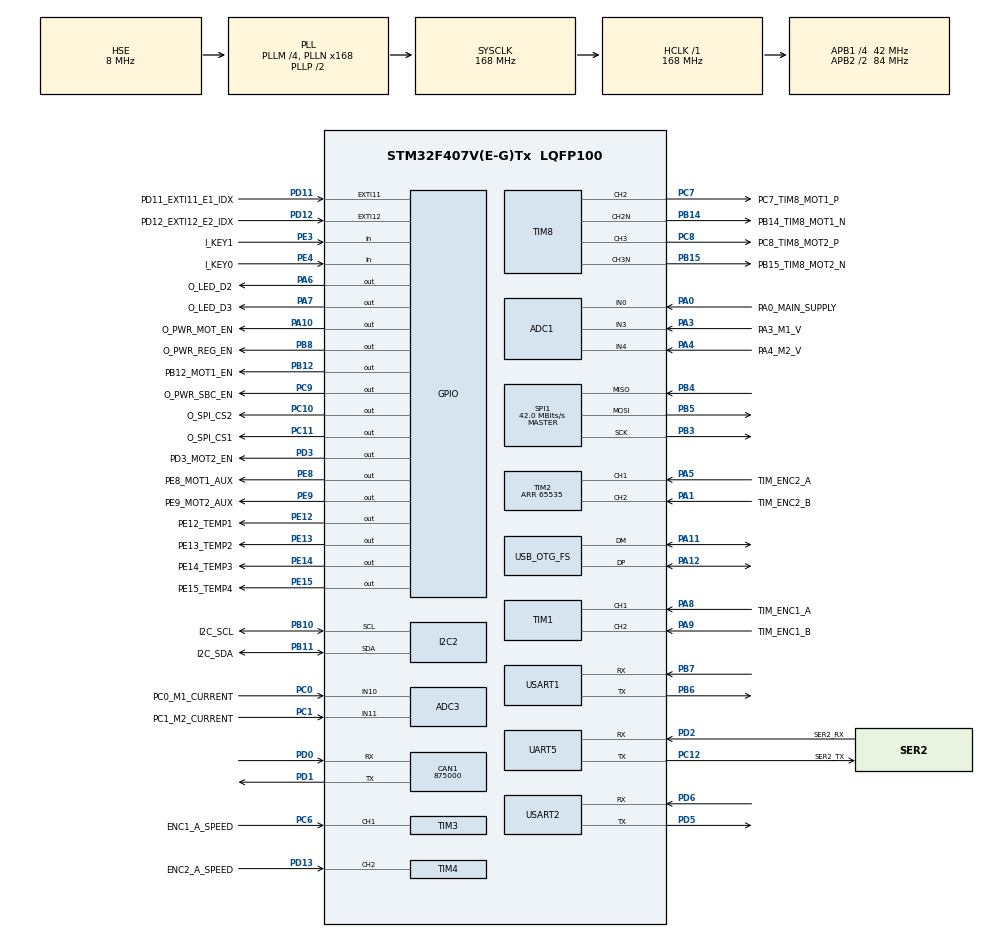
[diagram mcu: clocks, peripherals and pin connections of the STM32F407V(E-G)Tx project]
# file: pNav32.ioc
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ADC1.Channel-0\#ChannelRegularConversion=ADC_CHANNEL_0
ADC1.Channel-1\#ChannelRegularConversion=ADC_CHANNEL_3
ADC1.Channel-2\#ChannelRegularConversion=ADC_CHANNEL_4
ADC1.Channel-7\#ChannelRegularConversion=ADC_CHANNEL_TEMPSENSOR
ADC1.Channel-8\#ChannelRegularConversion=ADC_CHANNEL_VREFINT
ADC1.Channel-9\#ChannelRegularConversion=ADC_CHANNEL_VBAT
ADC1.ClockPrescaler=ADC_CLOCK_SYNC_PCLK_DIV8
ADC1.ContinuousConvMode=ENABLE
ADC1.DMAContinuousRequests=ENABLE
ADC1.EOCSelection=ADC_EOC_SEQ_CONV
ADC1.NbrOfConversion=6
ADC1.NbrOfConversionFlag=1
ADC1.Rank-0\#ChannelRegularConversion=1
ADC1.Rank-1\#ChannelRegularConversion=2
ADC1.Rank-2\#ChannelRegularConversion=3
ADC1.Rank-7\#ChannelRegularConversion=4
ADC1.Rank-8\#ChannelRegularConversion=5
ADC1.Rank-9\#ChannelRegularConversion=6
ADC1.SamplingTime-0\#ChannelRegularConversion=ADC_SAMPLETIME_15CYCLES
ADC1.SamplingTime-1\#ChannelRegularConversion=ADC_SAMPLETIME_15CYCLES
ADC1.SamplingTime-2\#ChannelRegularConversion=ADC_SAMPLETIME_15CYCLES
ADC1.SamplingTime-7\#ChannelRegularConversion=ADC_SAMPLETIME_15CYCLES
ADC1.SamplingTime-8\#ChannelRegularConversion=ADC_SAMPLETIME_15CYCLES
ADC1.SamplingTime-9\#ChannelRegularConversion=ADC_SAMPLETIME_15CYCLES
ADC1.master=1
ADC3.Channel-0\#ChannelRegularConversion=ADC_CHANNEL_10
ADC3.Channel-1\#ChannelRegularConversion=ADC_CHANNEL_11
ADC3.ClockPrescaler=ADC_CLOCK_SYNC_PCLK_DIV8
ADC3.ContinuousConvMode=ENABLE
ADC3.DMAContinuousRequests=ENABLE
ADC3.EOCSelection=ADC_EOC_SEQ_CONV
ADC3.ExternalTrigConv=ADC_SOFTWARE_START
ADC3.NbrOfConversion=2
ADC3.NbrOfConversionFlag=1
ADC3.Rank-0\#ChannelRegularConversion=1
ADC3.Rank-1\#ChannelRegularConversion=2
ADC3.SamplingTime-0\#ChannelRegularConversion=ADC_SAMPLETIME_3CYCLES
ADC3.SamplingTime-1\#ChannelRegularConversion=ADC_SAMPLETIME_3CYCLES
ADC3.ScanConvMode=ENABLE
CAN1.CalculateBaudRate=875000
CAN1.CalculateTimeBit=1142
CAN1.CalculateTimeQuantum=380.95238095238096
Dma.ADC1.3.Direction=DMA_PERIPH_TO_MEMORY
Dma.ADC1.3.FIFOMode=DMA_FIFOMODE_DISABLE
Dma.ADC1.3.Instance=DMA2_Stream4
Dma.ADC1.3.MemDataAlignment=DMA_MDATAALIGN_WORD
Dma.ADC1.3.MemInc=DMA_MINC_ENABLE
Dma.ADC1.3.Mode=DMA_CIRCULAR
Dma.ADC1.3.PeriphDataAlignment=DMA_PDATAALIGN_WORD
Dma.ADC1.3.PeriphInc=DMA_PINC_DISABLE
Dma.ADC1.3.Priority=DMA_PRIORITY_LOW
Dma.ADC3.0.Direction=DMA_PERIPH_TO_MEMORY
Dma.ADC3.0.FIFOMode=DMA_FIFOMODE_DISABLE
Dma.ADC3.0.Instance=DMA2_Stream0
Dma.ADC3.0.MemDataAlignment=DMA_MDATAALIGN_WORD
Dma.ADC3.0.MemInc=DMA_MINC_ENABLE
Dma.ADC3.0.Mode=DMA_CIRCULAR
Dma.ADC3.0.PeriphDataAlignment=DMA_PDATAALIGN_WORD
Dma.ADC3.0.PeriphInc=DMA_PINC_DISABLE
Dma.ADC3.0.Priority=DMA_PRIORITY_HIGH
Dma.Request0=ADC3
Dma.Request1=USART1_RX
Dma.Request2=USART1_TX
Dma.Request3=ADC1
Dma.USART1_RX.1.Direction=DMA_PERIPH_TO_MEMORY
Dma.USART1_RX.1.FIFOMode=DMA_FIFOMODE_DISABLE
Dma.USART1_RX.1.Instance=DMA2_Stream2
Dma.USART1_RX.1.MemDataAlignment=DMA_MDATAALIGN_BYTE
Dma.USART1_RX.1.MemInc=DMA_MINC_ENABLE
Dma.USART1_RX.1.Mode=DMA_CIRCULAR
Dma.USART1_RX.1.PeriphDataAlignment=DMA_PDATAALIGN_BYTE
Dma.USART1_RX.1.PeriphInc=DMA_PINC_DISABLE
Dma.USART1_RX.1.Priority=DMA_PRIORITY_VERY_HIGH
Dma.USART1_TX.2.Direction=DMA_MEMORY_TO_PERIPH
Dma.USART1_TX.2.FIFOMode=DMA_FIFOMODE_DISABLE
Dma.USART1_TX.2.Instance=DMA2_Stream7
Dma.USART1_TX.2.MemDataAlignment=DMA_MDATAALIGN_BYTE
Dma.USART1_TX.2.MemInc=DMA_MINC_ENABLE
Dma.USART1_TX.2.Mode=DMA_NORMAL
Dma.USART1_TX.2.PeriphDataAlignment=DMA_PDATAALIGN_BYTE
Dma.USART1_TX.2.PeriphInc=DMA_PINC_DISABLE
Dma.USART1_TX.2.Priority=DMA_PRIORITY_VERY_HIGH
FREERTOS.Tasks01=rosTaskLed,16,512,StartTaskLed,Default,NULL,Static,rosTaskLedBuffer,rosTaskLedControlBlock;rosTaskCom,24,5000,StartTaskCom,Default,NULL,Static,rosTaskComBuffer,rosTaskComControlBlock;rosTaskAnalog,8,256,StartTaskAnalog,Default,NULL,Static,rosTaskAnalogBuffer,rosTaskAnalogControlBlock
FREERTOS.Timers01=myTimer_1m,CallbackTimer_1m,osTimerPeriodic,Default,NULL,Dynamic,NULL
FREERTOS.configUSE_NEWLIB_REENTRANT=1
Mcu.Family=STM32F4
Mcu.Name=STM32F407V(E-G)Tx
Mcu.Package=LQFP100
NVIC.DMA2_Stream0_IRQn=true\:5\:0\:false\:false\:true\:true\:false\:true\:true
NVIC.DMA2_Stream2_IRQn=true\:5\:0\:false\:false\:true\:true\:false\:true\:true
NVIC.DMA2_Stream4_IRQn=true\:5\:0\:false\:false\:true\:true\:false\:true\:true
NVIC.DMA2_Stream7_IRQn=true\:5\:0\:false\:false\:true\:true\:false\:true\:true
NVIC.OTG_FS_IRQn=true\:5\:0\:false\:false\:true\:true\:false\:true\:true
NVIC.PriorityGroup=NVIC_PRIORITYGROUP_4
NVIC.TIM1_UP_TIM10_IRQn=true\:5\:0\:false\:false\:true\:false\:false\:true\:true
NVIC.TIM3_IRQn=true\:5\:0\:false\:false\:true\:true\:true\:true\:true
NVIC.TIM4_IRQn=true\:5\:0\:false\:false\:true\:true\:true\:true\:true
NVIC.TIM5_IRQn=true\:5\:0\:false\:false\:true\:true\:true\:true\:true
NVIC.TimeBase=TIM1_UP_TIM10_IRQn
NVIC.TimeBaseIP=TIM10
NVIC.USART1_IRQn=true\:5\:0\:false\:false\:true\:true\:true\:true\:true
PA0-WKUP.GPIO_Label=PA0_MAIN_SUPPLY
PA0-WKUP.Signal=ADCx_IN0
PA1.GPIO_Label=TIM_ENC2_B
PA1.GPIO_Speed=GPIO_SPEED_FREQ_VERY_HIGH
PA1.Signal=S_TIM2_CH2
PA10.GPIO_Label=O_PWR_MOT_EN
PA10.Signal=GPIO_Output
PA11.Mode=Device_Only
PA11.Signal=USB_OTG_FS_DM
PA12.Mode=Device_Only
PA12.Signal=USB_OTG_FS_DP
PA13.Mode=Serial_Wire
PA13.Signal=SYS_JTMS-SWDIO
PA14.Mode=Serial_Wire
PA14.Signal=SYS_JTCK-SWCLK
PA3.GPIO_Label=PA3_M1_V
PA3.Signal=ADCx_IN3
PA4.GPIO_Label=PA4_M2_V
PA4.Signal=ADCx_IN4
PA5.GPIO_Label=TIM_ENC2_A
PA5.GPIO_Speed=GPIO_SPEED_FREQ_VERY_HIGH
PA5.Signal=S_TIM2_CH1_ETR
PA6.GPIO_Label=O_LED_D2
PA6.Signal=GPIO_Output
PA7.GPIO_Label=O_LED_D3
PA7.Signal=GPIO_Output
PA8.GPIO_Label=TIM_ENC1_A
PA8.GPIO_Speed=GPIO_SPEED_FREQ_VERY_HIGH
PA8.Signal=S_TIM1_CH1
PA9.GPIO_Label=TIM_ENC1_B
PA9.GPIO_Speed=GPIO_SPEED_FREQ_VERY_HIGH
PA9.Signal=S_TIM1_CH2
PB0.GPIO_Label=TIM_FAN_PWM
PB0.Signal=S_TIM3_CH3
PB1.GPIO_Label=TIM_FAN_INDEX
PB1.GPIO_PuPd=GPIO_PULLUP
PB1.Signal=S_TIM3_CH4
PB10.GPIO_Label=I2C_SCL
PB10.Mode=I2C
PB10.Signal=I2C2_SCL
PB11.GPIO_Label=I2C_SDA
PB11.Mode=I2C
PB11.Signal=I2C2_SDA
PB12.GPIO_Label=PB12_MOT1_EN
PB12.Signal=GPIO_Output
PB14.GPIO_Label=PB14_TIM8_MOT1_N
PB14.Mode=PWM Generation2 CH2 CH2N
PB14.Signal=TIM8_CH2N
PB15.GPIO_Label=PB15_TIM8_MOT2_N
PB15.Mode=PWM Generation3 CH3 CH3N
PB15.Signal=TIM8_CH3N
PB3.Mode=Full_Duplex_Master
PB3.Signal=SPI1_SCK
PB4.Mode=Full_Duplex_Master
PB4.Signal=SPI1_MISO
PB5.Mode=Full_Duplex_Master
PB5.Signal=SPI1_MOSI
PB6.Mode=Asynchronous
PB6.Signal=USART1_TX
PB7.Mode=Asynchronous
PB7.Signal=USART1_RX
PB8.GPIO_Label=O_PWR_REG_EN
PB8.Signal=GPIO_Output
PB9.GPIO_Label=TIM_AUX2_PWM
PB9.Signal=S_TIM11_CH1
PC0.GPIO_Label=PC0_M1_CURRENT
PC0.Signal=ADCx_IN10
PC1.GPIO_Label=PC1_M2_CURRENT
PC1.Signal=ADCx_IN11
PC10.GPIO_Label=O_SPI_CS2
PC10.Signal=GPIO_Output
PC11.GPIO_Label=O_SPI_CS1
PC11.Signal=GPIO_Output
PC12.GPIO_Label=SER2_TX
PC12.Mode=Asynchronous
PC12.Signal=UART5_TX
PC6.GPIO_Label=ENC1_A_SPEED
PC6.GPIO_Speed=GPIO_SPEED_FREQ_VERY_HIGH
PC6.Signal=S_TIM3_CH1
PC7.GPIO_Label=PC7_TIM8_MOT1_P
PC7.Signal=S_TIM8_CH2
PC8.GPIO_Label=PC8_TIM8_MOT2_P
PC8.Signal=S_TIM8_CH3
PC9.GPIO_Label=O_PWR_SBC_EN
PC9.Signal=GPIO_Output
PD0.Mode=CAN_Activate
PD0.Signal=CAN1_RX
PD1.Mode=CAN_Activate
PD1.Signal=CAN1_TX
PD11.GPIO_Label=PD11_EXTI11_E1_IDX
PD11.Signal=GPXTI11
PD12.GPIO_Label=PD12_EXTI12_E2_IDX
PD12.Signal=GPXTI12
PD13.GPIO_Label=ENC2_A_SPEED
PD13.GPIO_Speed=GPIO_SPEED_FREQ_VERY_HIGH
PD13.Signal=S_TIM4_CH2
PD2.GPIO_Label=SER2_RX
PD2.Mode=Asynchronous
PD2.Signal=UART5_RX
PD3.GPIO_Label=PD3_MOT2_EN
PD3.Signal=GPIO_Output
PD5.Mode=Asynchronous
PD5.Signal=USART2_TX
PD6.Mode=Asynchronous
PD6.Signal=USART2_RX
PE12.GPIO_Label=PE12_TEMP1
PE12.Signal=GPIO_Output
PE13.GPIO_Label=PE13_TEMP2
PE13.Signal=GPIO_Output
PE14.GPIO_Label=PE14_TEMP3
PE14.Signal=GPIO_Output
PE15.GPIO_Label=PE15_TEMP4
PE15.Signal=GPIO_Output
PE3.GPIO_Label=I_KEY1
PE3.GPIO_PuPd=GPIO_PULLUP
PE3.Signal=GPIO_Input
PE4.GPIO_Label=I_KEY0
PE4.GPIO_PuPd=GPIO_PULLUP
PE4.Signal=GPIO_Input
PE8.GPIO_Label=PE8_MOT1_AUX
PE8.Signal=GPIO_Output
PE9.GPIO_Label=PE9_MOT2_AUX
PE9.Signal=GPIO_Output
PH0-OSC_IN.Mode=HSE-External-Oscillator
PH0-OSC_IN.Signal=RCC_OSC_IN
PH1-OSC_OUT.Mode=HSE-External-Oscillator
PH1-OSC_OUT.Signal=RCC_OSC_OUT
ProjectManager.HeapSize=0x200
ProjectManager.StackSize=0x400
ProjectManager.TargetToolchain=STM32CubeIDE
RCC.48MHZClocksFreq_Value=48000000
RCC.AHBFreq_Value=168000000
RCC.APB1CLKDivider=RCC_HCLK_DIV4
RCC.APB1Freq_Value=42000000
RCC.APB1TimFreq_Value=84000000
RCC.APB2CLKDivider=RCC_HCLK_DIV2
RCC.APB2Freq_Value=84000000
RCC.APB2TimFreq_Value=168000000
RCC.CortexFreq_Value=168000000
RCC.HCLKFreq_Value=168000000
RCC.HSE_VALUE=8000000
RCC.HSI_VALUE=16000000
RCC.LSE_VALUE=32768
RCC.PLLM=4
RCC.PLLN=168
RCC.PLLQ=7
RCC.SYSCLKFreq_VALUE=168000000
RCC.SYSCLKSource=RCC_SYSCLKSOURCE_PLLCLK
RCC.VCOOutputFreq_Value=336000000
SH.ADCx_IN0.0=ADC1_IN0,IN0
SH.ADCx_IN10.0=ADC3_IN10,IN10
SH.ADCx_IN11.0=ADC3_IN11,IN11
SH.ADCx_IN3.0=ADC1_IN3,IN3
SH.ADCx_IN4.0=ADC1_IN4,IN4
SH.S_TIM11_CH1.0=TIM11_CH1
SH.S_TIM1_CH1.0=TIM1_CH1,Encoder_Interface
SH.S_TIM1_CH2.0=TIM1_CH2,Encoder_Interface
SH.S_TIM2_CH1_ETR.0=TIM2_CH1,Encoder_Interface
SH.S_TIM2_CH2.0=TIM2_CH2,Encoder_Interface
SH.S_TIM3_CH1.0=TIM3_CH1,Input_Capture1_from_TI1
SH.S_TIM3_CH3.0=TIM3_CH3
SH.S_TIM3_CH4.0=TIM3_CH4
SH.S_TIM4_CH2.0=TIM4_CH2,Input_Capture2_from_TI2
SH.S_TIM8_CH2.0=TIM8_CH2,PWM Generation2 CH2 CH2N
SH.S_TIM8_CH3.0=TIM8_CH3,PWM Generation3 CH3 CH3N
SPI1.CalculateBaudRate=42.0 MBits/s
SPI1.Direction=SPI_DIRECTION_2LINES
SPI1.Mode=SPI_MODE_MASTER
SPI1.VirtualType=VM_MASTER
TIM1.EncoderMode=TIM_ENCODERMODE_TI12
TIM1.IC1Filter=2
TIM1.IC2Filter=2
TIM2.EncoderMode=TIM_ENCODERMODE_TI12
TIM2.IC1Filter=2
TIM2.IC2Filter=2
TIM2.Period=65535
TIM3.Channel-Input_Capture1_from_TI1=TIM_CHANNEL_1
TIM3.ICFilter_CH1=2
TIM4.Channel-Input_Capture2_from_TI2=TIM_CHANNEL_2
TIM4.ICFilter_CH2=2
TIM5.AutoReloadPreload=TIM_AUTORELOAD_PRELOAD_ENABLE
TIM5.Period=999
TIM5.Prescaler=83
TIM8.Channel-PWM\ Generation2\ CH2\ CH2N=TIM_CHANNEL_2
TIM8.Channel-PWM\ Generation3\ CH3\ CH3N=TIM_CHANNEL_3
TIM8.DeadTime=2
TIM8.Pulse-PWM\ Generation2\ CH2\ CH2N=512
TIM8.Pulse-PWM\ Generation3\ CH3\ CH3N=512
UART5.VirtualMode=Asynchronous
USART1.VirtualMode=VM_ASYNC
USART2.VirtualMode=VM_ASYNC
USB_DEVICE.CLASS_NAME_FS=CDC
USB_DEVICE.MANUFACTURER_STRING-CDC_FS=Katodo
USB_DEVICE.PRODUCT_STRING_CDC_FS=pNav32 VCP
USB_DEVICE.VirtualMode-CDC_FS=Cdc
USB_DEVICE.VirtualModeFS=Cdc_FS
USB_OTG_FS.VirtualMode=Device_Only
VP_ADC1_TempSens_Input.Mode=IN-TempSens
VP_ADC1_Vbat_Input.Mode=IN-Vbat
VP_ADC1_Vref_Input.Mode=IN-Vrefint
VP_CRC_VS_CRC.Mode=CRC_Activate
VP_FREERTOS_VS_CMSIS_V2.Mode=CMSIS_V2
VP_RNG_VS_RNG.Mode=RNG_Activate
VP_SYS_VS_tim10.Mode=TIM10
VP_TIM14_VS_ClockSourceINT.Mode=Enable_Timer
VP_TIM3_VS_ClockSourceINT.Mode=Internal
VP_TIM4_VS_ClockSourceINT.Mode=Internal
VP_TIM5_VS_ClockSourceINT.Mode=Internal
VP_TIM8_VS_ClockSourceINT.Mode=Internal
VP_USB_DEVICE_VS_USB_DEVICE_CDC_FS.Mode=CDC_FS
board=custom

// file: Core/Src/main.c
/* USER CODE BEGIN Header */
/**
  ******************************************************************************
  * @file           : main.c
  * @brief          : Main program body
  ******************************************************************************
  * @attention
  *
  * Copyright (c) 2022 STMicroelectronics.
  * All rights reserved.
  *
  * This software is licensed under terms that can be found in the LICENSE file
  * in the root directory of this software component.
  * If no LICENSE file comes with this software, it is provided AS-IS.
  *
  ******************************************************************************
  */
/* USER CODE END Header */
#include "main.h"
#include "cmsis_os.h"
#include "adc.h"
#include "can.h"
#include "crc.h"
#include "dma.h"
#include "i2c.h"
#include "rng.h"
#include "spi.h"
#include "tim.h"
#include "usart.h"
#include "usb_device.h"
#include "gpio.h"

/* USER CODE BEGIN Includes */
#include "globals.h"
#include "motors.h"
#include "encoder.h"

/* USER CODE END Includes */

void SystemClock_Config(void);
void MX_FREERTOS_Init(void);

/* USER CODE BEGIN 0 */
extern ADC_HandleTypeDef hadc1;
extern DMA_HandleTypeDef hdma_adc1;

/* USER CODE END 0 */

int main(void)
{

  /* MCU Configuration--------------------------------------------------------*/

  /* Reset of all peripherals, Initializes the Flash interface and the Systick. */
  HAL_Init();

  /* Configure the system clock */
  SystemClock_Config();

  /* Initialize all configured peripherals */
  MX_GPIO_Init();
  MX_DMA_Init();
  MX_TIM1_Init();
  MX_TIM2_Init();
  MX_TIM8_Init();
  MX_I2C2_Init();
  MX_SPI1_Init();
  MX_USART1_UART_Init();
  MX_ADC1_Init();
  MX_ADC3_Init();
  MX_TIM3_Init();
  MX_TIM4_Init();
  MX_UART5_Init();
  MX_CRC_Init();
  MX_RNG_Init();
  MX_TIM14_Init();
  MX_CAN1_Init();
  MX_USART2_UART_Init();
  MX_TIM5_Init();
  /* USER CODE BEGIN 2 */

  HAL_TIM_Base_Start_IT(&htim5);

  // 2) Avvia il PWM su TIM8
  MotorControl_StartPWM();

  // Imposta i motori inizialmente fermi ma enable=true
  MotorControl_SetMotors(0.0f, 0.0f, true, true, false, false);

  // Inizializza il modulo encoder
  ENC_Init();

  /* USER CODE END 2 */

  /* Init scheduler */
  osKernelInitialize();

  /* Call init function for freertos objects (in cmsis_os2.c) */
  MX_FREERTOS_Init();

  /* Start scheduler */
  osKernelStart();

  /* We should never get here as control is now taken by the scheduler */

  /* Infinite loop */
  while (1)
  {

  }
}

void SystemClock_Config(void)
{
  RCC_OscInitTypeDef RCC_OscInitStruct = {0};
  RCC_ClkInitTypeDef RCC_ClkInitStruct = {0};

  /** Configure the main internal regulator output voltage
  */
  __HAL_RCC_PWR_CLK_ENABLE();
  __HAL_PWR_VOLTAGESCALING_CONFIG(PWR_REGULATOR_VOLTAGE_SCALE1);

  /** Initializes the RCC Oscillators according to the specified parameters
  * in the RCC_OscInitTypeDef structure.
  */
  RCC_OscInitStruct.OscillatorType = RCC_OSCILLATORTYPE_HSE;
  RCC_OscInitStruct.HSEState = RCC_HSE_ON;
  RCC_OscInitStruct.PLL.PLLState = RCC_PLL_ON;
  RCC_OscInitStruct.PLL.PLLSource = RCC_PLLSOURCE_HSE;
  RCC_OscInitStruct.PLL.PLLM = 4;
  RCC_OscInitStruct.PLL.PLLN = 168;
  RCC_OscInitStruct.PLL.PLLP = RCC_PLLP_DIV2;
  RCC_OscInitStruct.PLL.PLLQ = 7;
  if (HAL_RCC_OscConfig(&RCC_OscInitStruct) != HAL_OK)
  {
    Error_Handler();
  }

  /** Initializes the CPU, AHB and APB buses clocks
  */
  RCC_ClkInitStruct.ClockType = RCC_CLOCKTYPE_HCLK|RCC_CLOCKTYPE_SYSCLK
                              |RCC_CLOCKTYPE_PCLK1|RCC_CLOCKTYPE_PCLK2;
  RCC_ClkInitStruct.SYSCLKSource = RCC_SYSCLKSOURCE_PLLCLK;
  RCC_ClkInitStruct.AHBCLKDivider = RCC_SYSCLK_DIV1;
  RCC_ClkInitStruct.APB1CLKDivider = RCC_HCLK_DIV4;
  RCC_ClkInitStruct.APB2CLKDivider = RCC_HCLK_DIV2;

  if (HAL_RCC_ClockConfig(&RCC_ClkInitStruct, FLASH_LATENCY_5) != HAL_OK)
  {
    Error_Handler();
  }
}

/* USER CODE BEGIN 4 */

/**
  * @brief  Conversion complete callback in non blocking mode
  * @param  hadc: ADC handle
  * @note   This example shows a simple way to report end of conversion
  *         and get conversion result. You can add your own implementation.
  * @retval None
  */
void HAL_ADC_ConvCpltCallback(ADC_HandleTypeDef *hadc)
{
  /* Update status variable of DMA transfer */
  //ubDmaTransferStatus = 1;

  /* Set LED depending on DMA transfer status */
  /* - Turn-on if DMA transfer is completed */
  /* - Turn-off if DMA transfer is not completed */
	dmaTransferComplete = 1;
}

/**
  * @brief  Conversion DMA half-transfer callback in non blocking mode
  * @note   This example shows a simple way to report end of conversion
  *         and get conversion result. You can add your own implementation.
  * @retval None
  */
void HAL_ADC_ConvHalfCpltCallback(ADC_HandleTypeDef *hadc)
{
  /* Set LED depending on DMA transfer status */
  /* - Turn-on if DMA transfer is completed */
  /* - Turn-off if DMA transfer is not completed */
	dmaHalfTransferComplete=1;
}

/* USER CODE END 4 */

void HAL_TIM_PeriodElapsedCallback(TIM_HandleTypeDef *htim)
{
  /* USER CODE BEGIN Callback 0 */
	if (htim->Instance == TIM5)
	{
		// Codice da eseguire ogni 1ms
		ENC_Update();
	}

  /* USER CODE END Callback 0 */
  if (htim->Instance == TIM10) {
    HAL_IncTick();
  }
}

void Error_Handler(void)
{
  __disable_irq();
  while (1)
  {
  }
}

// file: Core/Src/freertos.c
/* USER CODE BEGIN Header */
/**
  ******************************************************************************
  * File Name          : freertos.c
  * Description        : Code for freertos applications
  ******************************************************************************
  * @attention
  *
  * Copyright (c) 2022 STMicroelectronics.
  * All rights reserved.
  *
  * This software is licensed under terms that can be found in the LICENSE file
  * in the root directory of this software component.
  * If no LICENSE file comes with this software, it is provided AS-IS.
  *
  ******************************************************************************
  */

/*
  USEFULL LINK:
 	https://micro.ros.org/docs/tutorials/core/first_application_linux

 BASE COMMAND:
 cd ~/STM32CubeIDE/workspace_1.17.0/pNav32_RobotMotorController/agent_ws
 ros2 run micro_ros_agent micro_ros_agent serial -b 115200 --dev /dev/ttyUSB0

*/

/* USER CODE END Header */

#include "FreeRTOS.h"
#include "task.h"
#include "main.h"
#include "cmsis_os.h"

/* USER CODE BEGIN Includes */

#include "globals.h"

#include <stdbool.h>
#include <rcl/rcl.h>
#include <rcl/error_handling.h>
#include <rclc/rclc.h>
#include <rclc/executor.h>
#include <uxr/client/transport.h>
#include <rmw_microxrcedds_c/config.h>
#include <rmw_microros/rmw_microros.h>

#include <std_msgs/msg/int32.h>
#include <std_msgs/msg/int64.h>
#include <std_msgs/msg/u_int32.h>
#include <std_msgs/msg/float64.h>
#include <std_msgs/msg/color_rgba.h>
#include <sensor_msgs/msg/battery_state.h>
#include <sensor_msgs/msg/temperature.h>
#include <std_msgs/msg/float64_multi_array.h>
#include <control_msgs/msg/joint_jog.h>

// Aggiunta per il subscriber twist:
#include <geometry_msgs/msg/twist.h>

// UART, motors, encoder
#include "usart.h"
#include "motors.h"
#include "encoder.h"

/* USER CODE END Includes */

typedef StaticTask_t osStaticThreadDef_t;

/* USER CODE BEGIN Variables */

/* === Publisher e messaggi standard === */
//rcl_publisher_t publisher_int32;
//std_msgs__msg__Int32 msgInt32;

//rcl_publisher_t publisher_int64;
//std_msgs__msg__Int64 msgInt64;

rcl_publisher_t publisher_temp;
sensor_msgs__msg__Temperature msgTemperature;

//rcl_publisher_t publisher_color;
//std_msgs__msg__ColorRGBA msgColorRGBA;

rcl_publisher_t publisher_batt;
sensor_msgs__msg__BatteryState msgBattery;
rosidl_runtime_c__float__Sequence battVoltage;
const size_t NUMBEROFFCELL = 6;

/* === Publisher e messaggi per Encoder 1 e 2 === */
rcl_publisher_t publisher_Enc1_pos1;
std_msgs__msg__Int32   msg_Enc1_pos1;

rcl_publisher_t publisher_Enc1_vel1;
std_msgs__msg__Float64 msg_Enc1_vel1; // Corretto in Float64

rcl_publisher_t publisher_Enc2_pos2;
std_msgs__msg__Int32   msg_Enc2_pos2;

rcl_publisher_t publisher_Enc2_vel2;
std_msgs__msg__Float64 msg_Enc2_vel2; // Corretto in Float64

/* === Publisher e messaggi per impulsi encoder === */
rcl_publisher_t publisher_Enc1_impulse_time;
std_msgs__msg__UInt32 msg_Enc1_impulse_time;

rcl_publisher_t publisher_Enc2_impulse_time;
std_msgs__msg__UInt32 msg_Enc2_impulse_time;

/* === Variabili encoder reali (aggiornate altrove) === */
volatile int32_t pos1;
volatile float vel1; // Modificato da int32_t a float
volatile int32_t pos2;
volatile float vel2; // Modificato da int32_t a float

/* === Subscriber al topic cmd_vel (Twist) === */
rcl_subscription_t sub_cmdVel;
geometry_msgs__msg__Twist msg_cmdVel;  // dati in arrivo

/* USER CODE END Variables */
/* Definitions for rosTaskLed */
osThreadId_t rosTaskLedHandle;
uint32_t rosTaskLedBuffer[ 512 ];
osStaticThreadDef_t rosTaskLedControlBlock;
const osThreadAttr_t rosTaskLed_attributes = {
  .name = "rosTaskLed",
  .cb_mem = &rosTaskLedControlBlock,
  .cb_size = sizeof(rosTaskLedControlBlock),
  .stack_mem = &rosTaskLedBuffer[0],
  .stack_size = sizeof(rosTaskLedBuffer),
  .priority = (osPriority_t) osPriorityBelowNormal,
};
/* Definitions for rosTaskCom */
osThreadId_t rosTaskComHandle;
uint32_t rosTaskComBuffer[ 5000 ];
osStaticThreadDef_t rosTaskComControlBlock;
const osThreadAttr_t rosTaskCom_attributes = {
  .name = "rosTaskCom",
  .cb_mem = &rosTaskComControlBlock,
  .cb_size = sizeof(rosTaskComControlBlock),
  .stack_mem = &rosTaskComBuffer[0],
  .stack_size = sizeof(rosTaskComBuffer),
  .priority = (osPriority_t) osPriorityNormal,
};
/* Definitions for rosTaskAnalog */
osThreadId_t rosTaskAnalogHandle;
uint32_t rosTaskAnalogBuffer[ 256 ];
osStaticThreadDef_t rosTaskAnalogControlBlock;
const osThreadAttr_t rosTaskAnalog_attributes = {
  .name = "rosTaskAnalog",
  .cb_mem = &rosTaskAnalogControlBlock,
  .cb_size = sizeof(rosTaskAnalogControlBlock),
  .stack_mem = &rosTaskAnalogBuffer[0],
  .stack_size = sizeof(rosTaskAnalogBuffer),
  .priority = (osPriority_t) osPriorityLow,
};
/* Definitions for myTimer_1m */
osTimerId_t myTimer_1mHandle;
const osTimerAttr_t myTimer_1m_attributes = {
  .name = "myTimer_1m"
};

/* USER CODE BEGIN FunctionPrototypes */

/**
 * @brief Semplice funzione che calcola il fattore K di un robot differenziale,
 *        partendo dalla distanza tra le ruote (track_width_m).
 * @param track_width_m  Distanza (m) tra ruota sinistra e ruota destra
 * @return  K = track_width_m / 2
 */
static float ComputeDifferentialK(float track_width_m)
{
    return track_width_m * 0.5f;
}

/**
 * @brief Callback di ricezione del messaggio cmd_vel (geometry_msgs::msg::Twist)
 * @param msgin  messaggio generico da castare a Twist
 */
static void cmdVelCallback(const void * msgin)
{
    const geometry_msgs__msg__Twist * msg = (const geometry_msgs__msg__Twist *)msgin;

    // Lettura velocità lineare e angolare
    float v_lin = msg->linear.x;   // [m/s]
    float v_ang = msg->angular.z;  // [rad/s]

    // Calcolo K dalla geometria del robot (ad es. 0.40 m tra i cingoli)
    float track_width = 0.40f;
    float K = ComputeDifferentialK(track_width);

    // Velocità motori:
    float speedM1 = v_lin - (v_ang * K);
    float speedM2 = v_lin + (v_ang * K);

    // Abilita entrambi i motori (true, true), AUX disabilitato (false, false)
    MotorControl_SetMotors(speedM1, speedM2, true, true, false, false);
}

bool cubemx_transport_open(struct uxrCustomTransport * transport);
bool cubemx_transport_close(struct uxrCustomTransport * transport);
size_t cubemx_transport_write(struct uxrCustomTransport* transport, const uint8_t * buf, size_t len, uint8_t * err);
size_t cubemx_transport_read(struct uxrCustomTransport* transport, uint8_t* buf, size_t len, int timeout, uint8_t* err);

void * microros_allocate(size_t size, void * state);
void microros_deallocate(void * pointer, void * state);
void * microros_reallocate(void * pointer, size_t size, void * state);
void * microros_zero_allocate(size_t number_of_elements, size_t size_of_element, void * state);
/* USER CODE END FunctionPrototypes */

void StartTaskLed(void *argument);
void StartTaskCom(void *argument);
void StartTaskAnalog(void *argument);
void CallbackTimer_1m(void *argument);

extern void MX_USB_DEVICE_Init(void);
void MX_FREERTOS_Init(void); /* (MISRA C 2004 rule 8.1) */

void MX_FREERTOS_Init(void) {

  /* Create the timer(s) */
  /* creation of myTimer_1m */
  myTimer_1mHandle = osTimerNew(CallbackTimer_1m, osTimerPeriodic, NULL, &myTimer_1m_attributes);

  /* USER CODE BEGIN RTOS_TIMERS */
  // start timers, add new ones, ...
  // Avvio del timer a 1 ms (se configTICK_RATE_HZ = 1000)
  osStatus_t status = osTimerStart(myTimer_1mHandle, 1);
  if (status != osOK)
  {
    // Error handling timer
  }
  /* USER CODE END RTOS_TIMERS */

  /* Create the thread(s) */
  /* creation of rosTaskLed */
  rosTaskLedHandle = osThreadNew(StartTaskLed, NULL, &rosTaskLed_attributes);

  /* creation of rosTaskCom */
  rosTaskComHandle = osThreadNew(StartTaskCom, NULL, &rosTaskCom_attributes);

  /* creation of rosTaskAnalog */
  rosTaskAnalogHandle = osThreadNew(StartTaskAnalog, NULL, &rosTaskAnalog_attributes);

}

void StartTaskLed(void *argument)
{
  /* init code for USB_DEVICE */
  MX_USB_DEVICE_Init();
  /* USER CODE BEGIN StartTaskLed */
  /* Infinite loop */
  for(;;)
  {
    HAL_GPIO_WritePin(O_LED_D2_GPIO_Port, O_LED_D2_Pin, GPIO_PIN_SET);
    osDelay(100);
    HAL_GPIO_WritePin(O_LED_D2_GPIO_Port, O_LED_D2_Pin, GPIO_PIN_RESET);
    osDelay(200);
  }
  /* USER CODE END StartTaskLed */
}

void StartTaskCom(void *argument)
{
  /* USER CODE BEGIN StartTaskCom */

  /* ===========================================================================
   * 1) Configurazione micro-ROS su UART
   * ==========================================================================*/
  rmw_uros_set_custom_transport(
    true,
    (void *) &huart1,
    cubemx_transport_open,
    cubemx_transport_close,
    cubemx_transport_write,
    cubemx_transport_read
  );

  rcl_allocator_t freeRTOS_allocator = rcutils_get_zero_initialized_allocator();
  freeRTOS_allocator.allocate      = microros_allocate;
  freeRTOS_allocator.deallocate    = microros_deallocate;
  freeRTOS_allocator.reallocate    = microros_reallocate;
  freeRTOS_allocator.zero_allocate = microros_zero_allocate;

  if (!rcutils_set_default_allocator(&freeRTOS_allocator))
  {
    printf("Error on default allocators (line %d)\n", __LINE__);
  }

  /* ===========================================================================
   * 2) Inizializzazione rclc e creazione nodo
   * ==========================================================================*/
  rclc_support_t support;
  rcl_allocator_t allocator;
  rcl_node_t node;

  allocator = rcl_get_default_allocator();
  rclc_support_init(&support, 0, NULL, &allocator);

  rclc_node_init_default(&node, "pnav32", "", &support);

  /* ===========================================================================
   * 3) Creazione Publisher
   * ==========================================================================*/
  // Esempi: pInt32, pInt64, pBatt, pTemp, pColorRGBA, e i publisher encoder
//  rclc_publisher_init_default(&publisher_int32, &node,
//    ROSIDL_GET_MSG_TYPE_SUPPORT(std_msgs, msg, Int32),
//    "pInt32");
//
//  rclc_publisher_init_default(&publisher_int64, &node,
//    ROSIDL_GET_MSG_TYPE_SUPPORT(std_msgs, msg, Int64),
//    "pInt64");
//
//  rclc_publisher_init_default(&publisher_color, &node,
//    ROSIDL_GET_MSG_TYPE_SUPPORT(std_msgs, msg, ColorRGBA),
//    "pColorRGBA");

  rclc_publisher_init_default(&publisher_batt, &node,
    ROSIDL_GET_MSG_TYPE_SUPPORT(sensor_msgs, msg, BatteryState),
    "pBatt");

  rclc_publisher_init_default(&publisher_temp, &node,
    ROSIDL_GET_MSG_TYPE_SUPPORT(sensor_msgs, msg, Temperature),
    "pTemp");

  // Encoder 1
  rclc_publisher_init_default(&publisher_Enc1_pos1, &node,
    ROSIDL_GET_MSG_TYPE_SUPPORT(std_msgs, msg, Int32),
    "Enc1Pos1");

  rclc_publisher_init_default(&publisher_Enc1_vel1, &node,
      ROSIDL_GET_MSG_TYPE_SUPPORT(std_msgs, msg, Float64), // Modificato in Float64
      "Enc1Vel1");

  // Encoder 2
  rclc_publisher_init_default(&publisher_Enc2_pos2, &node,
    ROSIDL_GET_MSG_TYPE_SUPPORT(std_msgs, msg, Int32),
    "Enc2Pos2");

  rclc_publisher_init_default(&publisher_Enc2_vel2, &node,
      ROSIDL_GET_MSG_TYPE_SUPPORT(std_msgs, msg, Float64), // Modificato in Float64
      "Enc2Vel2");

  rclc_publisher_init_default(&publisher_Enc1_impulse_time, &node,
      ROSIDL_GET_MSG_TYPE_SUPPORT(std_msgs, msg, UInt32),
      "Enc1ImpulseTime");

  rclc_publisher_init_default(&publisher_Enc2_impulse_time, &node,
      ROSIDL_GET_MSG_TYPE_SUPPORT(std_msgs, msg, UInt32),
      "Enc2ImpulseTime");

  /* ===========================================================================
   * 4) Creazione Subscriber a cmd_vel
   * ==========================================================================*/
  rclc_subscription_init_default(
    &sub_cmdVel,
    &node,
    ROSIDL_GET_MSG_TYPE_SUPPORT(geometry_msgs, msg, Twist),
    "cmd_vel"
  );

  /* ===========================================================================
   * 5) Creazione Executor per gestire la callback su cmd_vel
   * ==========================================================================*/
  rclc_executor_t executor;
  rclc_executor_init(&executor, &support.context, 1, &allocator);
  // '1' = una subscription/callback, se ne hai di più aumenta

  // Aggiunge la subscription e la callback
  rclc_executor_add_subscription(
    &executor,
    &sub_cmdVel,
    &msg_cmdVel,
    &cmdVelCallback,
    ON_NEW_DATA
  );

  /* ===========================================================================
   * 6) Assegnazione valori iniziali per i messaggi standard
   * ==========================================================================*/
//  msgInt32.data = 1;
//  msgInt64.data = 10;
//
//  msgColorRGBA.r = 127;
//  msgColorRGBA.g = 127;
//  msgColorRGBA.b = 100;
//  msgColorRGBA.a = 200;

  msgBattery.power_supply_status     = sensor_msgs__msg__BatteryState__POWER_SUPPLY_STATUS_UNKNOWN;
  msgBattery.power_supply_health     = sensor_msgs__msg__BatteryState__POWER_SUPPLY_HEALTH_UNKNOWN;
  msgBattery.power_supply_technology = sensor_msgs__msg__BatteryState__POWER_SUPPLY_TECHNOLOGY_LION;
  msgBattery.charge  = 2;
  msgBattery.current = 10;
  battVoltage.size   = NUMBEROFFCELL;
  msgBattery.cell_voltage.capacity = NUMBEROFFCELL;
  msgBattery.cell_voltage.size     = NUMBEROFFCELL;
  msgBattery.cell_voltage.data     = (float*) malloc(NUMBEROFFCELL * sizeof(float));
  msgBattery.cell_voltage.data[0]  = 0.0f;
  msgBattery.cell_voltage.data[1]  = 1.0f;
  msgBattery.cell_voltage.data[2]  = 2.0f;
  msgBattery.cell_voltage.data[3]  = 3.0f;
  msgBattery.cell_voltage.data[4]  = 4.0f;
  msgBattery.cell_voltage.data[5]  = 5.0f;
  // e così via se servono

  msgTemperature.temperature = 25.0f;

  /* ===========================================================================
   * 7) Loop infinito: pubblicazione e spin dell'executor
   * ==========================================================================*/
  for(;;)
  {
    // Esempio di aggiornamento messaggi
//    msgInt32.data++;
//    msgInt64.data++;
//    msgColorRGBA.g++;
    msgBattery.voltage += 0.001f;
    msgTemperature.temperature += 0.001f;

    // Aggiorna messaggi encoder
    msg_Enc1_pos1.data  = g_Encoder1.position;
    msg_Enc1_vel1.data  = g_Encoder1.velocity; // Usa il valore float

    msg_Enc2_pos2.data  = g_Encoder2.position;
    msg_Enc2_vel2.data  = g_Encoder2.velocity; // Usa il valore float

    msg_Enc1_impulse_time.data = g_Encoder1.impulse_time;
    msg_Enc2_impulse_time.data = g_Encoder2.impulse_time;

    // LED D3 ON
    HAL_GPIO_WritePin(O_LED_D3_GPIO_Port, O_LED_D3_Pin, GPIO_PIN_RESET);

    // Pubblicazioni di esempio
    rcl_ret_t ret = RCL_RET_OK;
//    ret += rcl_publish(&publisher_int32, &msgInt32, NULL);
//    ret += rcl_publish(&publisher_int64, &msgInt64, NULL);
//    ret += rcl_publish(&publisher_color, &msgColorRGBA, NULL);
    ret += rcl_publish(&publisher_batt, &msgBattery, NULL);
    ret += rcl_publish(&publisher_temp, &msgTemperature, NULL);

    // Pubblica messaggi encoder
    ret += rcl_publish(&publisher_Enc1_pos1,  &msg_Enc1_pos1,  NULL);
    ret += rcl_publish(&publisher_Enc1_vel1,  &msg_Enc1_vel1,  NULL);
    //ret += rcl_publish(&publisher_Enc1VelTPS, &msg_Enc1VelTPS, NULL);

    ret += rcl_publish(&publisher_Enc2_pos2,  &msg_Enc2_pos2,  NULL);
    ret += rcl_publish(&publisher_Enc2_vel2,  &msg_Enc2_vel2,  NULL);
    //ret += rcl_publish(&publisher_Enc2VelTPS, &msg_Enc2VelTPS, NULL);

    ret += rcl_publish(&publisher_Enc1_impulse_time, &msg_Enc1_impulse_time, NULL);
    if (ret != RCL_RET_OK) {
      printf("Error publishing Enc1ImpulseTime, ret = %ld\n", ret);
    }

    ret += rcl_publish(&publisher_Enc2_impulse_time, &msg_Enc2_impulse_time, NULL);
    if (ret != RCL_RET_OK) {
      printf("Error publishing Enc2ImpulseTime, ret = %ld\n", ret);
    }

    if (ret != RCL_RET_OK)
    {
      printf("Error publishing (line %d)\n", __LINE__);
    }

    // Esegui spin dell'executor per gestire la callback del subscriber
    rclc_executor_spin_some(&executor, RCL_MS_TO_NS(10));

    // LED D3 OFF
    HAL_GPIO_WritePin(O_LED_D3_GPIO_Port, O_LED_D3_Pin, GPIO_PIN_SET);

    osDelay(100);
  }

  /* USER CODE END StartTaskCom */
}

void StartTaskAnalog(void *argument)
{
  /* USER CODE BEGIN StartTaskAnalog */
  /* Infinite loop */
  for(;;)
  {
    if(dmaTransferComplete == 1)
    {
      dmaTransferComplete = 0;
      osDelay(1);
    }
  }
  /* USER CODE END StartTaskAnalog */
}

/* CallbackTimer_1m function */
void CallbackTimer_1m(void *argument)
{
  /* USER CODE BEGIN CallbackTimer_1m */
  // Codice eseguito ogni 1 ms
  //  ENC_Update();  // Aggiorna gli encoder ogni millisecondo
  /* USER CODE END CallbackTimer_1m */
}
